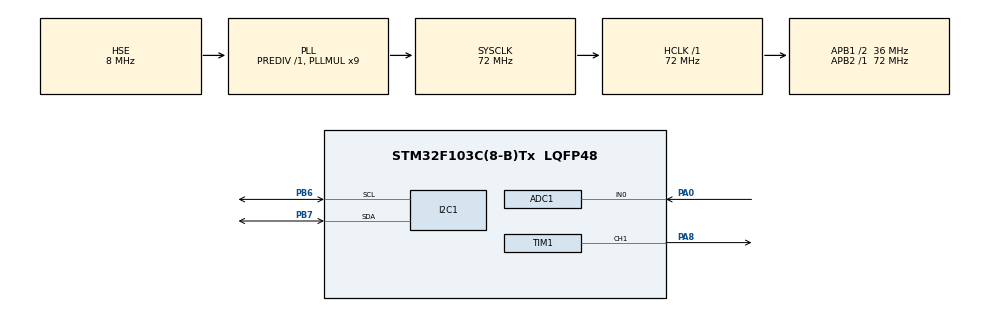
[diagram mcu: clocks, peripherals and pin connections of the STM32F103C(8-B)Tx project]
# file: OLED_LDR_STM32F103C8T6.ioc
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ADC1.Channel-0\#ChannelRegularConversion=ADC_CHANNEL_0
ADC1.ContinuousConvMode=DISABLE
ADC1.ExternalTrigConv=ADC_EXTERNALTRIGCONV_T1_CC1
ADC1.NbrOfConversionFlag=1
ADC1.Rank-0\#ChannelRegularConversion=1
ADC1.SamplingTime-0\#ChannelRegularConversion=ADC_SAMPLETIME_41CYCLES_5
ADC1.master=1
Dma.ADC1.0.Direction=DMA_PERIPH_TO_MEMORY
Dma.ADC1.0.Instance=DMA1_Channel1
Dma.ADC1.0.MemDataAlignment=DMA_MDATAALIGN_HALFWORD
Dma.ADC1.0.MemInc=DMA_MINC_ENABLE
Dma.ADC1.0.Mode=DMA_CIRCULAR
Dma.ADC1.0.PeriphDataAlignment=DMA_PDATAALIGN_HALFWORD
Dma.ADC1.0.PeriphInc=DMA_PINC_DISABLE
Dma.ADC1.0.Priority=DMA_PRIORITY_LOW
Dma.Request0=ADC1
I2C1.I2C_Mode=I2C_Fast
Mcu.Family=STM32F1
Mcu.Name=STM32F103C(8-B)Tx
Mcu.Package=LQFP48
NVIC.DMA1_Channel1_IRQn=true\:0\:0\:false\:false\:true\:false\:true\:true
NVIC.PriorityGroup=NVIC_PRIORITYGROUP_4
PA0-WKUP.Signal=ADCx_IN0
PA13.Mode=Serial_Wire
PA13.Signal=SYS_JTMS-SWDIO
PA14.Mode=Serial_Wire
PA14.Signal=SYS_JTCK-SWCLK
PA8.Signal=S_TIM1_CH1
PB6.Mode=I2C
PB6.Signal=I2C1_SCL
PB7.Mode=I2C
PB7.Signal=I2C1_SDA
PD0-OSC_IN.Mode=HSE-External-Oscillator
PD0-OSC_IN.Signal=RCC_OSC_IN
PD1-OSC_OUT.Mode=HSE-External-Oscillator
PD1-OSC_OUT.Signal=RCC_OSC_OUT
ProjectManager.HeapSize=0x200
ProjectManager.StackSize=0x400
ProjectManager.TargetToolchain=STM32CubeIDE
RCC.ADCPresc=RCC_ADCPCLK2_DIV6
RCC.AHBFreq_Value=72000000
RCC.APB1CLKDivider=RCC_HCLK_DIV2
RCC.APB1Freq_Value=36000000
RCC.APB1TimFreq_Value=72000000
RCC.APB2Freq_Value=72000000
RCC.APB2TimFreq_Value=72000000
RCC.HCLKFreq_Value=72000000
RCC.PLLMUL=RCC_PLL_MUL9
RCC.PLLSourceVirtual=RCC_PLLSOURCE_HSE
RCC.SYSCLKFreq_VALUE=72000000
RCC.SYSCLKSource=RCC_SYSCLKSOURCE_PLLCLK
RCC.USBFreq_Value=72000000
SH.ADCx_IN0.0=ADC1_IN0,IN0
SH.S_TIM1_CH1.0=TIM1_CH1,PWM Generation1 CH1
TIM1.Channel-PWM\ Generation1\ CH1=TIM_CHANNEL_1
TIM1.Period=10000-1
TIM1.Prescaler=1440-1
TIM1.Pulse-PWM\ Generation1\ CH1=10000/2
board=custom

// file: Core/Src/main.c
/* USER CODE BEGIN Header */
/**
  ******************************************************************************
  * @file           : main.c
  * @brief          : Main program body
  ******************************************************************************
  * @attention
  *
  * Copyright (c) 2025 STMicroelectronics.
  * All rights reserved.
  *
  * This software is licensed under terms that can be found in the LICENSE file
  * in the root directory of this software component.
  * If no LICENSE file comes with this software, it is provided AS-IS.
  *
  ******************************************************************************
  */
/* USER CODE END Header */
#include "main.h"

/* USER CODE BEGIN Includes */
#include "ssd1306.h"
#include "fonts.h"
#include "shiny.h"
#include "dark.h"
/* USER CODE END Includes */

ADC_HandleTypeDef hadc1;
DMA_HandleTypeDef hdma_adc1;

I2C_HandleTypeDef hi2c1;

TIM_HandleTypeDef htim1;

/* USER CODE BEGIN PV */
uint16_t ADC_Value[1];			//storing raw ADC values
uint16_t DarknessIntensity;		//darkness intensity in %
uint8_t flag_darkness = 0;		//for checking previous darkness state
/* USER CODE END PV */

void SystemClock_Config(void);
static void MX_GPIO_Init(void);
static void MX_DMA_Init(void);
static void MX_I2C1_Init(void);
static void MX_ADC1_Init(void);
static void MX_TIM1_Init(void);

int main(void)
{

  /* MCU Configuration--------------------------------------------------------*/

  /* Reset of all peripherals, Initializes the Flash interface and the Systick. */
  HAL_Init();

  /* Configure the system clock */
  SystemClock_Config();

  /* Initialize all configured peripherals */
  MX_GPIO_Init();
  MX_DMA_Init();
  MX_I2C1_Init();
  MX_ADC1_Init();
  MX_TIM1_Init();
  /* USER CODE BEGIN 2 */
	SSD1306_Init (); 									// Initialize the display
	SSD1306_DrawBitmap(0, 0, shiny, 128, 64, 1);		//pre-assumption that it is shiny
	SSD1306_UpdateScreen();								//show image on display

  /* USER CODE END 2 */

  /* Infinite loop */
  /* USER CODE BEGIN WHILE */
  while (1)
  {
		if(DarknessIntensity >= 75)		//if it is dark
		{
			if(flag_darkness == 0)			//and if it was shiny previously
			{
				SSD1306_Clear();							//clear previous pixels
				SSD1306_DrawBitmap(0, 0, dark, 128, 64, 1); //draw scared fox
				SSD1306_UpdateScreen();						//show image on display
				flag_darkness = 1;							// set the darkness state to 1
			}
		}

		if(DarknessIntensity < 75)		//if there is enough light
		{
			if(flag_darkness == 1)			// and if it was dark previously
			{
				SSD1306_Clear();							//clear previous pixels
				SSD1306_DrawBitmap(0, 0, shiny, 128, 64, 1);//draw happy fox
				SSD1306_UpdateScreen();						//show image on display
				flag_darkness = 0;							//set the darkness state to 0
			}
		}

    /* USER CODE END WHILE */

  }
}

void SystemClock_Config(void)
{
  RCC_OscInitTypeDef RCC_OscInitStruct = {0};
  RCC_ClkInitTypeDef RCC_ClkInitStruct = {0};
  RCC_PeriphCLKInitTypeDef PeriphClkInit = {0};

  /** Initializes the RCC Oscillators according to the specified parameters
  * in the RCC_OscInitTypeDef structure.
  */
  RCC_OscInitStruct.OscillatorType = RCC_OSCILLATORTYPE_HSE;
  RCC_OscInitStruct.HSEState = RCC_HSE_ON;
  RCC_OscInitStruct.HSEPredivValue = RCC_HSE_PREDIV_DIV1;
  RCC_OscInitStruct.HSIState = RCC_HSI_ON;
  RCC_OscInitStruct.PLL.PLLState = RCC_PLL_ON;
  RCC_OscInitStruct.PLL.PLLSource = RCC_PLLSOURCE_HSE;
  RCC_OscInitStruct.PLL.PLLMUL = RCC_PLL_MUL9;
  if (HAL_RCC_OscConfig(&RCC_OscInitStruct) != HAL_OK)
  {
    Error_Handler();
  }

  /** Initializes the CPU, AHB and APB buses clocks
  */
  RCC_ClkInitStruct.ClockType = RCC_CLOCKTYPE_HCLK|RCC_CLOCKTYPE_SYSCLK
                              |RCC_CLOCKTYPE_PCLK1|RCC_CLOCKTYPE_PCLK2;
  RCC_ClkInitStruct.SYSCLKSource = RCC_SYSCLKSOURCE_PLLCLK;
  RCC_ClkInitStruct.AHBCLKDivider = RCC_SYSCLK_DIV1;
  RCC_ClkInitStruct.APB1CLKDivider = RCC_HCLK_DIV2;
  RCC_ClkInitStruct.APB2CLKDivider = RCC_HCLK_DIV1;

  if (HAL_RCC_ClockConfig(&RCC_ClkInitStruct, FLASH_LATENCY_2) != HAL_OK)
  {
    Error_Handler();
  }
  PeriphClkInit.PeriphClockSelection = RCC_PERIPHCLK_ADC;
  PeriphClkInit.AdcClockSelection = RCC_ADCPCLK2_DIV6;
  if (HAL_RCCEx_PeriphCLKConfig(&PeriphClkInit) != HAL_OK)
  {
    Error_Handler();
  }
}

static void MX_ADC1_Init(void)
{

  ADC_ChannelConfTypeDef sConfig = {0};

  /** Common config
  */
  hadc1.Instance = ADC1;
  hadc1.Init.ScanConvMode = ADC_SCAN_DISABLE;
  hadc1.Init.ContinuousConvMode = DISABLE;
  hadc1.Init.DiscontinuousConvMode = DISABLE;
  hadc1.Init.ExternalTrigConv = ADC_EXTERNALTRIGCONV_T1_CC1;
  hadc1.Init.DataAlign = ADC_DATAALIGN_RIGHT;
  hadc1.Init.NbrOfConversion = 1;
  if (HAL_ADC_Init(&hadc1) != HAL_OK)
  {
    Error_Handler();
  }

  /** Configure Regular Channel
  */
  sConfig.Channel = ADC_CHANNEL_0;
  sConfig.Rank = ADC_REGULAR_RANK_1;
  sConfig.SamplingTime = ADC_SAMPLETIME_41CYCLES_5;
  if (HAL_ADC_ConfigChannel(&hadc1, &sConfig) != HAL_OK)
  {
    Error_Handler();
  }
  /* USER CODE BEGIN ADC1_Init 2 */
  HAL_ADC_Start_DMA(&hadc1, (uint32_t *) ADC_Value, 1);		// start ADC in DMA mode
  /* USER CODE END ADC1_Init 2 */

}

static void MX_I2C1_Init(void)
{

  hi2c1.Instance = I2C1;
  hi2c1.Init.ClockSpeed = 400000;
  hi2c1.Init.DutyCycle = I2C_DUTYCYCLE_2;
  hi2c1.Init.OwnAddress1 = 0;
  hi2c1.Init.AddressingMode = I2C_ADDRESSINGMODE_7BIT;
  hi2c1.Init.DualAddressMode = I2C_DUALADDRESS_DISABLE;
  hi2c1.Init.OwnAddress2 = 0;
  hi2c1.Init.GeneralCallMode = I2C_GENERALCALL_DISABLE;
  hi2c1.Init.NoStretchMode = I2C_NOSTRETCH_DISABLE;
  if (HAL_I2C_Init(&hi2c1) != HAL_OK)
  {
    Error_Handler();
  }

}

static void MX_TIM1_Init(void)
{

  TIM_MasterConfigTypeDef sMasterConfig = {0};
  TIM_OC_InitTypeDef sConfigOC = {0};
  TIM_BreakDeadTimeConfigTypeDef sBreakDeadTimeConfig = {0};

  htim1.Instance = TIM1;
  htim1.Init.Prescaler = 1440-1;
  htim1.Init.CounterMode = TIM_COUNTERMODE_UP;
  htim1.Init.Period = 10000-1;
  htim1.Init.ClockDivision = TIM_CLOCKDIVISION_DIV1;
  htim1.Init.RepetitionCounter = 0;
  htim1.Init.AutoReloadPreload = TIM_AUTORELOAD_PRELOAD_DISABLE;
  if (HAL_TIM_PWM_Init(&htim1) != HAL_OK)
  {
    Error_Handler();
  }
  sMasterConfig.MasterOutputTrigger = TIM_TRGO_RESET;
  sMasterConfig.MasterSlaveMode = TIM_MASTERSLAVEMODE_DISABLE;
  if (HAL_TIMEx_MasterConfigSynchronization(&htim1, &sMasterConfig) != HAL_OK)
  {
    Error_Handler();
  }
  sConfigOC.OCMode = TIM_OCMODE_PWM1;
  sConfigOC.Pulse = 10000/2;
  sConfigOC.OCPolarity = TIM_OCPOLARITY_HIGH;
  sConfigOC.OCNPolarity = TIM_OCNPOLARITY_HIGH;
  sConfigOC.OCFastMode = TIM_OCFAST_DISABLE;
  sConfigOC.OCIdleState = TIM_OCIDLESTATE_RESET;
  sConfigOC.OCNIdleState = TIM_OCNIDLESTATE_RESET;
  if (HAL_TIM_PWM_ConfigChannel(&htim1, &sConfigOC, TIM_CHANNEL_1) != HAL_OK)
  {
    Error_Handler();
  }
  sBreakDeadTimeConfig.OffStateRunMode = TIM_OSSR_DISABLE;
  sBreakDeadTimeConfig.OffStateIDLEMode = TIM_OSSI_DISABLE;
  sBreakDeadTimeConfig.LockLevel = TIM_LOCKLEVEL_OFF;
  sBreakDeadTimeConfig.DeadTime = 0;
  sBreakDeadTimeConfig.BreakState = TIM_BREAK_DISABLE;
  sBreakDeadTimeConfig.BreakPolarity = TIM_BREAKPOLARITY_HIGH;
  sBreakDeadTimeConfig.AutomaticOutput = TIM_AUTOMATICOUTPUT_DISABLE;
  if (HAL_TIMEx_ConfigBreakDeadTime(&htim1, &sBreakDeadTimeConfig) != HAL_OK)
  {
    Error_Handler();
  }
  /* USER CODE BEGIN TIM1_Init 2 */
  HAL_TIM_PWM_Start(&htim1, TIM_CHANNEL_1);		// start PWM
  /* USER CODE END TIM1_Init 2 */
  HAL_TIM_MspPostInit(&htim1);

}

static void MX_DMA_Init(void)
{

  /* DMA controller clock enable */
  __HAL_RCC_DMA1_CLK_ENABLE();

  /* DMA interrupt init */
  /* DMA1_Channel1_IRQn interrupt configuration */
  HAL_NVIC_SetPriority(DMA1_Channel1_IRQn, 0, 0);
  HAL_NVIC_EnableIRQ(DMA1_Channel1_IRQn);

}

static void MX_GPIO_Init(void)
{

  /* GPIO Ports Clock Enable */
  __HAL_RCC_GPIOD_CLK_ENABLE();
  __HAL_RCC_GPIOA_CLK_ENABLE();
  __HAL_RCC_GPIOB_CLK_ENABLE();

}

/* USER CODE BEGIN 4 */
void HAL_ADC_ConvCpltCallback(ADC_HandleTypeDef* hadc)		//this function is called whenever conversion finishes
{
	DarknessIntensity = ADC_Value[0] * 100 / 4095;			//convert ADC values to darkness intensity in %
}
/* USER CODE END 4 */

void Error_Handler(void)
{
  __disable_irq();
  while (1)
  {
  }
}
